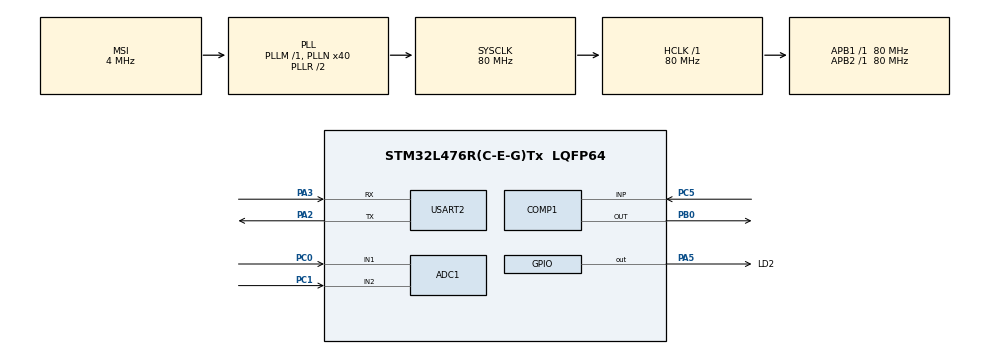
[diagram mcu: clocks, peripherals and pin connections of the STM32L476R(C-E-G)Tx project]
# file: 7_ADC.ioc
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ADC1.Channel-1\#ChannelRegularConversion=ADC_CHANNEL_1
ADC1.Channel-2\#ChannelRegularConversion=ADC_CHANNEL_2
ADC1.ContinuousConvMode=ENABLE
ADC1.DMAContinuousRequests=ENABLE
ADC1.NbrOfConversion=2
ADC1.NbrOfConversionFlag=1
ADC1.OffsetNumber-1\#ChannelRegularConversion=ADC_OFFSET_NONE
ADC1.OffsetNumber-2\#ChannelRegularConversion=ADC_OFFSET_NONE
ADC1.Overrun=ADC_OVR_DATA_PRESERVED
ADC1.OversamplingMode=ENABLE
ADC1.Rank-1\#ChannelRegularConversion=1
ADC1.Rank-2\#ChannelRegularConversion=2
ADC1.Ratio=ADC_OVERSAMPLING_RATIO_16
ADC1.RightBitShift=ADC_RIGHTBITSHIFT_4
ADC1.SamplingTime-1\#ChannelRegularConversion=ADC_SAMPLETIME_640CYCLES_5
ADC1.SamplingTime-2\#ChannelRegularConversion=ADC_SAMPLETIME_640CYCLES_5
ADC1.master=1
COMP1.OutputPol=COMP_OUTPUTPOL_INVERTED
Dma.ADC1.0.Direction=DMA_PERIPH_TO_MEMORY
Dma.ADC1.0.Instance=DMA1_Channel1
Dma.ADC1.0.MemDataAlignment=DMA_MDATAALIGN_HALFWORD
Dma.ADC1.0.MemInc=DMA_MINC_ENABLE
Dma.ADC1.0.Mode=DMA_CIRCULAR
Dma.ADC1.0.PeriphDataAlignment=DMA_PDATAALIGN_HALFWORD
Dma.ADC1.0.PeriphInc=DMA_PINC_DISABLE
Dma.ADC1.0.Priority=DMA_PRIORITY_LOW
Dma.Request0=ADC1
Mcu.Family=STM32L4
Mcu.Name=STM32L476R(C-E-G)Tx
Mcu.Package=LQFP64
NVIC.DMA1_Channel1_IRQn=true\:4\:0\:true\:false\:true\:false\:true\:true
NVIC.PriorityGroup=NVIC_PRIORITYGROUP_4
PA13\ (JTMS-SWDIO).Mode=Serial_Wire
PA13\ (JTMS-SWDIO).Signal=SYS_JTMS-SWDIO
PA14\ (JTCK-SWCLK).Mode=Serial_Wire
PA14\ (JTCK-SWCLK).Signal=SYS_JTCK-SWCLK
PA2.Mode=Asynchronous
PA2.Signal=USART2_TX
PA3.Mode=Asynchronous
PA3.Signal=USART2_RX
PA5.GPIO_Label=LD2
PA5.Signal=GPIO_Output
PB0.Mode=ExternalOutput
PB0.Signal=COMP1_OUT
PC0.Signal=ADCx_IN1
PC1.Signal=ADCx_IN2
PC14-OSC32_IN\ (PC14).Mode=LSE-External-Oscillator
PC14-OSC32_IN\ (PC14).Signal=RCC_OSC32_IN
PC15-OSC32_OUT\ (PC15).Mode=LSE-External-Oscillator
PC15-OSC32_OUT\ (PC15).Signal=RCC_OSC32_OUT
PC5.Mode=INP
PC5.Signal=COMP1_INP
ProjectManager.HeapSize=0x200
ProjectManager.StackSize=0x400
ProjectManager.TargetToolchain=STM32CubeIDE
RCC.ADCFreq_Value=32000000
RCC.AHBFreq_Value=80000000
RCC.APB1Freq_Value=80000000
RCC.APB1TimFreq_Value=80000000
RCC.APB2Freq_Value=80000000
RCC.APB2TimFreq_Value=80000000
RCC.CortexFreq_Value=80000000
RCC.HCLKFreq_Value=80000000
RCC.HSE_VALUE=8000000
RCC.HSI_VALUE=16000000
RCC.MSI_VALUE=4000000
RCC.PLLN=40
RCC.PLLSAI1N=16
RCC.SYSCLKFreq_VALUE=80000000
RCC.SYSCLKSource=RCC_SYSCLKSOURCE_PLLCLK
RCC.USBFreq_Value=32000000
RCC.VCOOutputFreq_Value=160000000
SH.ADCx_IN1.0=ADC1_IN1,IN1-Single-Ended
SH.ADCx_IN2.0=ADC1_IN2,IN2-Single-Ended
USART2.VirtualMode-Asynchronous=VM_ASYNC
VP_COMP1_VS_DACOUT1.Mode=INM_DACOUT1
VP_DAC1_VS_DACI1.Mode=DAC_OUT1_Int
board=custom

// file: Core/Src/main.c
/* USER CODE BEGIN Header */
/**
  ******************************************************************************
  * @file           : main.c
  * @brief          : Main program body
  ******************************************************************************
  * @attention
  *
  * Copyright (c) 2024 STMicroelectronics.
  * All rights reserved.
  *
  * This software is licensed under terms that can be found in the LICENSE file
  * in the root directory of this software component.
  * If no LICENSE file comes with this software, it is provided AS-IS.
  *
  ******************************************************************************
  */
/* USER CODE END Header */
#include "main.h"

/* USER CODE BEGIN Includes */
#include <stdio.h>
/* USER CODE END Includes */

ADC_HandleTypeDef hadc1;
DMA_HandleTypeDef hdma_adc1;

COMP_HandleTypeDef hcomp1;

DAC_HandleTypeDef hdac1;

UART_HandleTypeDef huart2;

void SystemClock_Config(void);
static void MX_GPIO_Init(void);
static void MX_DMA_Init(void);
static void MX_ADC1_Init(void);
static void MX_USART2_UART_Init(void);
static void MX_COMP1_Init(void);
static void MX_DAC1_Init(void);

/* USER CODE BEGIN 0 */

//Wysylanie danych przez UART za pomoca printf:

int __io_putchar(int ch)
{
  if (ch == '\n') {
    __io_putchar('\r');
  }

  HAL_UART_Transmit(&huart2, (uint8_t*)&ch, 1, HAL_MAX_DELAY);

  return 1;
}

/* USER CODE END 0 */

int main(void)
{

  /* MCU Configuration--------------------------------------------------------*/

  /* Reset of all peripherals, Initializes the Flash interface and the Systick. */
  HAL_Init();

  /* Configure the system clock */
  SystemClock_Config();

  /* Initialize all configured peripherals */
  MX_GPIO_Init();
  MX_DMA_Init();
  MX_ADC1_Init();
  MX_USART2_UART_Init();
  MX_COMP1_Init();
  MX_DAC1_Init();
  /* USER CODE BEGIN 2 */

  //Kalibracja przetwornika ADC1 w trybie pracy ADC_SINGLE_ENDED (napięcie mierzone jest względem
  //napięcia referencyjnego - napiecie mierzone jest miedzy wyjsciem a
  //napieciem referencyjnym - 3.3V):
  HAL_ADCEx_Calibration_Start(&hadc1, ADC_SINGLE_ENDED);

  //Uruchomianie pomiaru przetwornika ADC1 w trybie ciaglego pomiaru (jednokrotnie uruchamiamy
  //pomiar):
  //HAL_ADC_Start(&hadc1);

  volatile static uint16_t joystick[2];
  //Uruchomienie pomiaru przetwornika ADC1 w trybie ciaglym z wykorzystaniem DMA:
  HAL_ADC_Start_DMA(&hadc1, (uint32_t*)joystick, 2);

  //Uruchomienie kanalu 1 przetwornika DAC1:
  HAL_DAC_Start(&hdac1, DAC_CHANNEL_1);
  //Ustawiamy napiecie wyjsciowe przetwornika DAC1 (prog zadzialania)
  HAL_DAC_SetValue(&hdac1, DAC_CHANNEL_1, DAC_ALIGN_12B_R, 700);

  //Uruchomienie komparatora COMP1:
  HAL_COMP_Start(&hcomp1);

  /* USER CODE END 2 */

  /* Infinite loop */
  /* USER CODE BEGIN WHILE */
  while (1)
  {
	  //*****************Odczyt danych z ADC1 w trybie pojedynczego pomiaru**********************//
	  /*
	  //Domyslnie przetwornik dziala w trybie pojedynczego pomiaru, wiec kazdy pomiar wymaga
	  //rozpoczenia (rozpoczecie pomiaru przez przetwornik):
	  HAL_ADC_Start(&hadc1);
	  //Czekanie na zakonczenie pomiaru przez przetwornik:
	  HAL_ADC_PollForConversion(&hadc1, HAL_MAX_DELAY);
	  //Odczyt pomiaru z przetwornika:
	  uint32_t value = HAL_ADC_GetValue(&hadc1);
	  */
	  //****************************************************************************************//

	  //*******************Odczyt danych z ADC1 w trybie ciaglego pomiaru**********************//
	  //Pomiar zostal uruchomiony jednokrotnie przed petla while (HAL_ADC_Start).
	  //Odczyt pomiaru z przetwornika:
	  //uint32_t value = HAL_ADC_GetValue(&hadc1);
	  //****************************************************************************************//

	  //*************Odczyt danych z 2 kanalow ADC1 w trybie pojedynczego pomiaru***************//
	  /*
	  uint32_t value[2];
	  //Rozpoczecie pomiaru na obu kanalach:
	  HAL_ADC_Start(&hadc1);
	  //Czekanie na zakonczenie pomiaru dla kanalu 1:
	  HAL_ADC_PollForConversion(&hadc1, HAL_MAX_DELAY);
	  //Odczyt pomiaru z kanalu 1:
	  value[0] = HAL_ADC_GetValue(&hadc1);
	  //Czekanie na zakonczenie pomiaru z kanalu 2:
	  HAL_ADC_PollForConversion(&hadc1, HAL_MAX_DELAY);
	  //Odczyt pomiaru z kanalu 2:
	  value[1] = HAL_ADC_GetValue(&hadc1);
	  */
	  //****************************************************************************************//

	  //Obliczenie napięcia mierzonego przez przetwornik (przeliczenie wartosci cyfrowej
	  //na mierzona wartosc analogowa). Napiecie referencyjne wynosi 3.3V, a rozdzielczosc
	  //przetwornika 12 bitów, czyli 4096 (2^12):
	  //float voltage = 3.3f * value / 4096;
	  float voltage1 = 3.3f * joystick[0] / 4096;
	  float voltage2 = 3.3f * joystick[1] / 4096;
	  //Przeslanie pomiaru przez UART do komputera:
	  //printf("ADC = %lu (%.3f V)\n", value, voltage);
	  printf("ADC: VRx = %lu (%.3f), VRy = %lu (%.3f)\n", joystick[0], voltage1, joystick[1], voltage2);
	  HAL_Delay(250);

    /* USER CODE END WHILE */

  }
}

void SystemClock_Config(void)
{
  RCC_OscInitTypeDef RCC_OscInitStruct = {0};
  RCC_ClkInitTypeDef RCC_ClkInitStruct = {0};

  /** Configure the main internal regulator output voltage
  */
  if (HAL_PWREx_ControlVoltageScaling(PWR_REGULATOR_VOLTAGE_SCALE1) != HAL_OK)
  {
    Error_Handler();
  }

  /** Configure LSE Drive Capability
  */
  HAL_PWR_EnableBkUpAccess();
  __HAL_RCC_LSEDRIVE_CONFIG(RCC_LSEDRIVE_LOW);

  /** Initializes the RCC Oscillators according to the specified parameters
  * in the RCC_OscInitTypeDef structure.
  */
  RCC_OscInitStruct.OscillatorType = RCC_OSCILLATORTYPE_LSE|RCC_OSCILLATORTYPE_MSI;
  RCC_OscInitStruct.LSEState = RCC_LSE_ON;
  RCC_OscInitStruct.MSIState = RCC_MSI_ON;
  RCC_OscInitStruct.MSICalibrationValue = 0;
  RCC_OscInitStruct.MSIClockRange = RCC_MSIRANGE_6;
  RCC_OscInitStruct.PLL.PLLState = RCC_PLL_ON;
  RCC_OscInitStruct.PLL.PLLSource = RCC_PLLSOURCE_MSI;
  RCC_OscInitStruct.PLL.PLLM = 1;
  RCC_OscInitStruct.PLL.PLLN = 40;
  RCC_OscInitStruct.PLL.PLLP = RCC_PLLP_DIV7;
  RCC_OscInitStruct.PLL.PLLQ = RCC_PLLQ_DIV2;
  RCC_OscInitStruct.PLL.PLLR = RCC_PLLR_DIV2;
  if (HAL_RCC_OscConfig(&RCC_OscInitStruct) != HAL_OK)
  {
    Error_Handler();
  }

  /** Initializes the CPU, AHB and APB buses clocks
  */
  RCC_ClkInitStruct.ClockType = RCC_CLOCKTYPE_HCLK|RCC_CLOCKTYPE_SYSCLK
                              |RCC_CLOCKTYPE_PCLK1|RCC_CLOCKTYPE_PCLK2;
  RCC_ClkInitStruct.SYSCLKSource = RCC_SYSCLKSOURCE_PLLCLK;
  RCC_ClkInitStruct.AHBCLKDivider = RCC_SYSCLK_DIV1;
  RCC_ClkInitStruct.APB1CLKDivider = RCC_HCLK_DIV1;
  RCC_ClkInitStruct.APB2CLKDivider = RCC_HCLK_DIV1;

  if (HAL_RCC_ClockConfig(&RCC_ClkInitStruct, FLASH_LATENCY_4) != HAL_OK)
  {
    Error_Handler();
  }

  /** Enable MSI Auto calibration
  */
  HAL_RCCEx_EnableMSIPLLMode();
}

static void MX_ADC1_Init(void)
{

  ADC_MultiModeTypeDef multimode = {0};
  ADC_ChannelConfTypeDef sConfig = {0};

  /** Common config
  */
  hadc1.Instance = ADC1;
  hadc1.Init.ClockPrescaler = ADC_CLOCK_ASYNC_DIV1;
  hadc1.Init.Resolution = ADC_RESOLUTION_12B;
  hadc1.Init.DataAlign = ADC_DATAALIGN_RIGHT;
  hadc1.Init.ScanConvMode = ADC_SCAN_ENABLE;
  hadc1.Init.EOCSelection = ADC_EOC_SINGLE_CONV;
  hadc1.Init.LowPowerAutoWait = DISABLE;
  hadc1.Init.ContinuousConvMode = ENABLE;
  hadc1.Init.NbrOfConversion = 2;
  hadc1.Init.DiscontinuousConvMode = DISABLE;
  hadc1.Init.ExternalTrigConv = ADC_SOFTWARE_START;
  hadc1.Init.ExternalTrigConvEdge = ADC_EXTERNALTRIGCONVEDGE_NONE;
  hadc1.Init.DMAContinuousRequests = ENABLE;
  hadc1.Init.Overrun = ADC_OVR_DATA_PRESERVED;
  hadc1.Init.OversamplingMode = ENABLE;
  hadc1.Init.Oversampling.Ratio = ADC_OVERSAMPLING_RATIO_16;
  hadc1.Init.Oversampling.RightBitShift = ADC_RIGHTBITSHIFT_4;
  hadc1.Init.Oversampling.TriggeredMode = ADC_TRIGGEREDMODE_SINGLE_TRIGGER;
  hadc1.Init.Oversampling.OversamplingStopReset = ADC_REGOVERSAMPLING_CONTINUED_MODE;
  if (HAL_ADC_Init(&hadc1) != HAL_OK)
  {
    Error_Handler();
  }

  /** Configure the ADC multi-mode
  */
  multimode.Mode = ADC_MODE_INDEPENDENT;
  if (HAL_ADCEx_MultiModeConfigChannel(&hadc1, &multimode) != HAL_OK)
  {
    Error_Handler();
  }

  /** Configure Regular Channel
  */
  sConfig.Channel = ADC_CHANNEL_1;
  sConfig.Rank = ADC_REGULAR_RANK_1;
  sConfig.SamplingTime = ADC_SAMPLETIME_640CYCLES_5;
  sConfig.SingleDiff = ADC_SINGLE_ENDED;
  sConfig.OffsetNumber = ADC_OFFSET_NONE;
  sConfig.Offset = 0;
  if (HAL_ADC_ConfigChannel(&hadc1, &sConfig) != HAL_OK)
  {
    Error_Handler();
  }

  /** Configure Regular Channel
  */
  sConfig.Channel = ADC_CHANNEL_2;
  sConfig.Rank = ADC_REGULAR_RANK_2;
  if (HAL_ADC_ConfigChannel(&hadc1, &sConfig) != HAL_OK)
  {
    Error_Handler();
  }

}

static void MX_COMP1_Init(void)
{

  hcomp1.Instance = COMP1;
  hcomp1.Init.InvertingInput = COMP_INPUT_MINUS_DAC1_CH1;
  hcomp1.Init.NonInvertingInput = COMP_INPUT_PLUS_IO1;
  hcomp1.Init.OutputPol = COMP_OUTPUTPOL_INVERTED;
  hcomp1.Init.Hysteresis = COMP_HYSTERESIS_NONE;
  hcomp1.Init.BlankingSrce = COMP_BLANKINGSRC_NONE;
  hcomp1.Init.Mode = COMP_POWERMODE_HIGHSPEED;
  hcomp1.Init.WindowMode = COMP_WINDOWMODE_DISABLE;
  hcomp1.Init.TriggerMode = COMP_TRIGGERMODE_NONE;
  if (HAL_COMP_Init(&hcomp1) != HAL_OK)
  {
    Error_Handler();
  }

}

static void MX_DAC1_Init(void)
{

  DAC_ChannelConfTypeDef sConfig = {0};

  /** DAC Initialization
  */
  hdac1.Instance = DAC1;
  if (HAL_DAC_Init(&hdac1) != HAL_OK)
  {
    Error_Handler();
  }

  /** DAC channel OUT1 config
  */
  sConfig.DAC_SampleAndHold = DAC_SAMPLEANDHOLD_DISABLE;
  sConfig.DAC_Trigger = DAC_TRIGGER_NONE;
  sConfig.DAC_OutputBuffer = DAC_OUTPUTBUFFER_DISABLE;
  sConfig.DAC_ConnectOnChipPeripheral = DAC_CHIPCONNECT_ENABLE;
  sConfig.DAC_UserTrimming = DAC_TRIMMING_FACTORY;
  if (HAL_DAC_ConfigChannel(&hdac1, &sConfig, DAC_CHANNEL_1) != HAL_OK)
  {
    Error_Handler();
  }

}

static void MX_USART2_UART_Init(void)
{

  huart2.Instance = USART2;
  huart2.Init.BaudRate = 115200;
  huart2.Init.WordLength = UART_WORDLENGTH_8B;
  huart2.Init.StopBits = UART_STOPBITS_1;
  huart2.Init.Parity = UART_PARITY_NONE;
  huart2.Init.Mode = UART_MODE_TX_RX;
  huart2.Init.HwFlowCtl = UART_HWCONTROL_NONE;
  huart2.Init.OverSampling = UART_OVERSAMPLING_16;
  huart2.Init.OneBitSampling = UART_ONE_BIT_SAMPLE_DISABLE;
  huart2.AdvancedInit.AdvFeatureInit = UART_ADVFEATURE_NO_INIT;
  if (HAL_UART_Init(&huart2) != HAL_OK)
  {
    Error_Handler();
  }

}

static void MX_DMA_Init(void)
{

  /* DMA controller clock enable */
  __HAL_RCC_DMA1_CLK_ENABLE();

  /* DMA interrupt init */
  /* DMA1_Channel1_IRQn interrupt configuration */
  HAL_NVIC_SetPriority(DMA1_Channel1_IRQn, 4, 0);
  HAL_NVIC_EnableIRQ(DMA1_Channel1_IRQn);

}

static void MX_GPIO_Init(void)
{
  GPIO_InitTypeDef GPIO_InitStruct = {0};

  /* GPIO Ports Clock Enable */
  __HAL_RCC_GPIOC_CLK_ENABLE();
  __HAL_RCC_GPIOA_CLK_ENABLE();
  __HAL_RCC_GPIOB_CLK_ENABLE();

  /*Configure GPIO pin Output Level */
  HAL_GPIO_WritePin(LD2_GPIO_Port, LD2_Pin, GPIO_PIN_RESET);

  /*Configure GPIO pin : LD2_Pin */
  GPIO_InitStruct.Pin = LD2_Pin;
  GPIO_InitStruct.Mode = GPIO_MODE_OUTPUT_PP;
  GPIO_InitStruct.Pull = GPIO_NOPULL;
  GPIO_InitStruct.Speed = GPIO_SPEED_FREQ_LOW;
  HAL_GPIO_Init(LD2_GPIO_Port, &GPIO_InitStruct);

}

void Error_Handler(void)
{
  __disable_irq();
  while (1)
  {
  }
}
